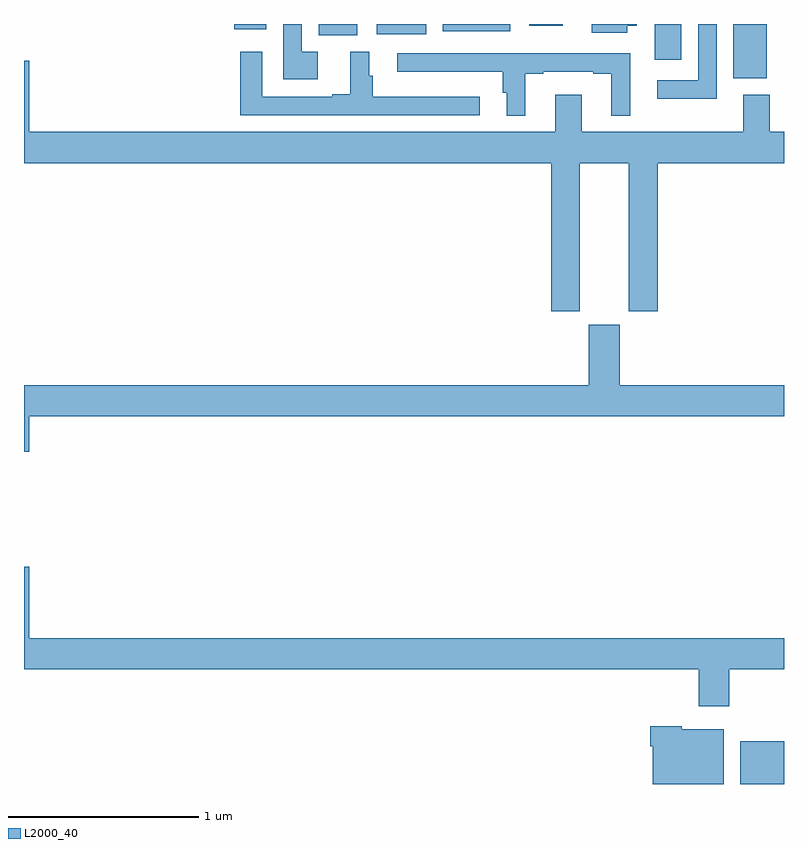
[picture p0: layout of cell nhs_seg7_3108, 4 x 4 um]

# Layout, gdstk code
import gdstk
lib = gdstk.Library(unit=1e-6, precision=1e-09)
def R(c, l, rs):  # rectangles x0, y0, x1, y1
    for r in rs: c.add(gdstk.rectangle(r[:2], r[2:], *l))
def P(c, l, *ps):  # polygons
    for p in ps: c.add(gdstk.Polygon(p, *l))
L2000_40 = (2000, 40)

nhs_seg7_3108 = lib.new_cell('nhs_seg7_3108')
R(nhs_seg7_3108, L2000_40, [(312.77,1012,313,1012.225), (312.734,1015.715,312.91,1016), (312.32,1015.812,312.46,1016), (310.55,1015.94,310.753,1016), (310.856,1015.946,311.116,1016), (311.204,1015.961,311.56,1016), (310.106,1015.973,310.276,1016), (311.66,1015.991,311.836,1016)])
P(nhs_seg7_3108, L2000_40, [(312.175,1015.991),(312.226,1015.991),(312.226,1016),(311.987,1016),(311.987,1015.955),(312.175,1015.955)],
  [(312.645,1016),(312.549,1016),(312.549,1015.704),(312.333,1015.704),(312.333,1015.607),(312.645,1015.607)],
  [(310.546,1015.855),(310.461,1015.855),(310.461,1016),(310.365,1016),(310.365,1015.709),(310.546,1015.709)],
  [(311.398,1015.618),(310.835,1015.618),(310.835,1015.728),(310.816,1015.728),(310.816,1015.855),(310.718,1015.855),(310.718,1015.63),(310.622,1015.63),(310.622,1015.617),(310.254,1015.617),(310.254,1015.855),(310.138,1015.855),(310.138,1015.521),(311.398,1015.521)],
  [(311.638,1015.737),(311.734,1015.737),(311.734,1015.749),(311.996,1015.749),(311.996,1015.737),(312.092,1015.737),(312.092,1015.517),(312.19,1015.517),(312.19,1015.845),(311.932,1015.845),(311.932,1015.846),(311.664,1015.846),(311.664,1015.845),(310.965,1015.845),(310.965,1015.748),(311.521,1015.748),(311.521,1015.638),(311.54,1015.638),(311.54,1015.517),(311.638,1015.517)],
  [(311.926,1015.268),(312.182,1015.268),(312.182,1014.489),(312.335,1014.489),(312.335,1015.268),(313,1015.268),(313,1015.432),(312.925,1015.432),(312.925,1015.627),(312.785,1015.627),(312.785,1015.432),(311.935,1015.432),(311.935,1015.627),(311.795,1015.627),(311.795,1015.432),(309.028,1015.432),(309.028,1015.807),(309,1015.807),(309,1015.268),(311.774,1015.268),(311.774,1014.489),(311.926,1014.489)],
  [(309.028,1013.936),(313,1013.936),(313,1014.1),(312.136,1014.1),(312.136,1014.417),(311.972,1014.417),(311.972,1014.1),(309,1014.1),(309,1013.748),(309.028,1013.748)],
  [(312.711,1012.604),(313,1012.604),(313,1012.768),(309.028,1012.768),(309.028,1013.143),(309,1013.143),(309,1012.604),(312.551,1012.604),(312.551,1012.41),(312.711,1012.41)],
  [(312.682,1012.288),(312.462,1012.288),(312.462,1012.303),(312.296,1012.303),(312.296,1012.199),(312.308,1012.199),(312.308,1012),(312.682,1012)])

lib.write_gds('nhs_seg7_3108.gds')
